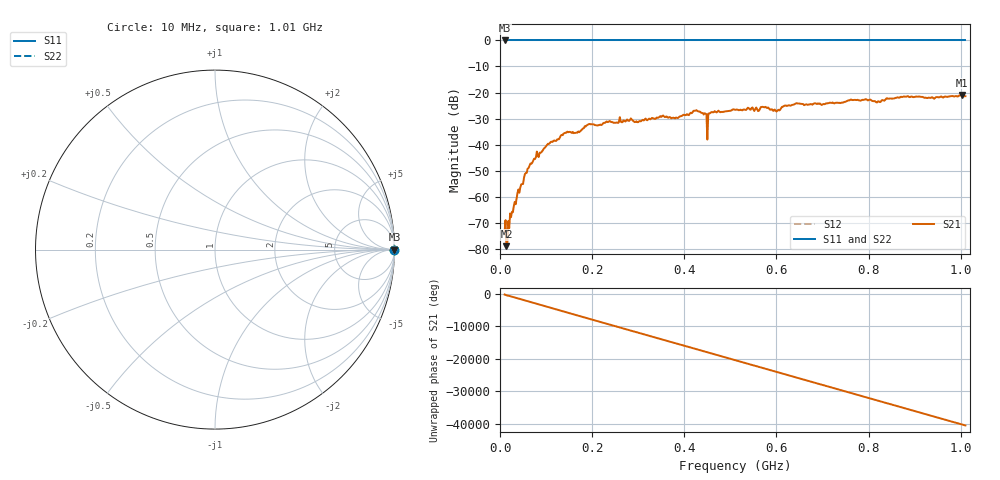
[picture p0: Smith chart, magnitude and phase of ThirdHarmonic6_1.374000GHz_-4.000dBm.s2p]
! 8/16/2025 3:34:33 PM
! C:\ANRITSUVNA\TEMP\TEMP.S2P
! CHANNEL.1
! TR.MEASUREMENT
! RAW.DATA
! RF.CORRECTION.OFF
! AVERAGING.OFF
! IF.BANDWIDTH: 5KHZ
! SWEEPTYPE:  FREQ.SWEEP(Linear)
! Reference Plane Port Info
! PORT:  PORT1  PORT2
! DISTANCE:  0  m  0  m
! TIME:  0  s  0  s
! PHASE.OFFSET:  0  deg.  0  deg.
! LOSS:  0  dB  0  dB
! REF.LOSS:  0  dB  0  dB
! REF.FREQ:  0  Hz  0  Hz
! Power Info
! POWER:  -20  dBm  -20  dBm
! EFF.POWER:  -20  dBm  -20  dBm
! SOURCE.ATTEN:  0  dB  0  dB
! TEST.ATTEN:  0  dB  0  dB
# GHZ S RI R 50.0
! FREQ.GHZ  S11RE  S11IM  S21RE  S21IM  S12RE  S12IM  S22RE  S22IM
!; PortSelection: Port_12
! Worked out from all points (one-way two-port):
!   501 points, 10 MHz to 1.01 GHz, reference 50 ohm
!   highest |S21| = -20.92 dB at 1.002 GHz (marker M1); lowest = -79.0 dB at 14 MHz (marker M2)
!   lowest |S11| = 0.0 dB at 10 MHz (marker M3)
!   |S11| at or under -10 dB: nowhere
!   |S22| runs from 0.0 to 0.0 dB; largest |S21 - S12| = 1.1
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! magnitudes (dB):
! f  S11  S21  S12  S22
! 10 MHz  0.0  -73.5  0.0  0.0
! 14 MHz  0.0  -79.0  0.0  0.0
! 18 MHz  0.0  -69.3  0.0  0.0
! 22 MHz  0.0  -66.4  0.0  0.0
! 42 MHz  0.0  -58.5  0.0  0.0
! 76 MHz  0.0  -45.5  0.0  0.0
! 142 MHz  0.0  -35.4  0.0  0.0
! 178 MHz  0.0  -34.2  0.0  0.0
! 194 MHz  0.0  -32.1  0.0  0.0
! 344 MHz  0.0  -29.6  0.0  0.0
! 384 MHz  0.0  -29.7  0.0  0.0
! 424 MHz  0.0  -27.0  0.0  0.0
! 444 MHz  0.0  -28.0  0.0  0.0
! 450 MHz  0.0  -38.1  0.0  0.0
! 462 MHz  0.0  -27.6  0.0  0.0
! 510 MHz  0.0  -26.6  0.0  0.0
! 602 MHz  0.0  -27.0  0.0  0.0
! 644 MHz  0.0  -24.1  0.0  0.0
! 678 MHz  0.0  -24.6  0.0  0.0
! 844 MHz  0.0  -22.4  0.0  0.0
! 1.002 GHz  0.0  -20.9  0.0  0.0
! 1.01 GHz  0.0  -21.4  0.0  0.0
